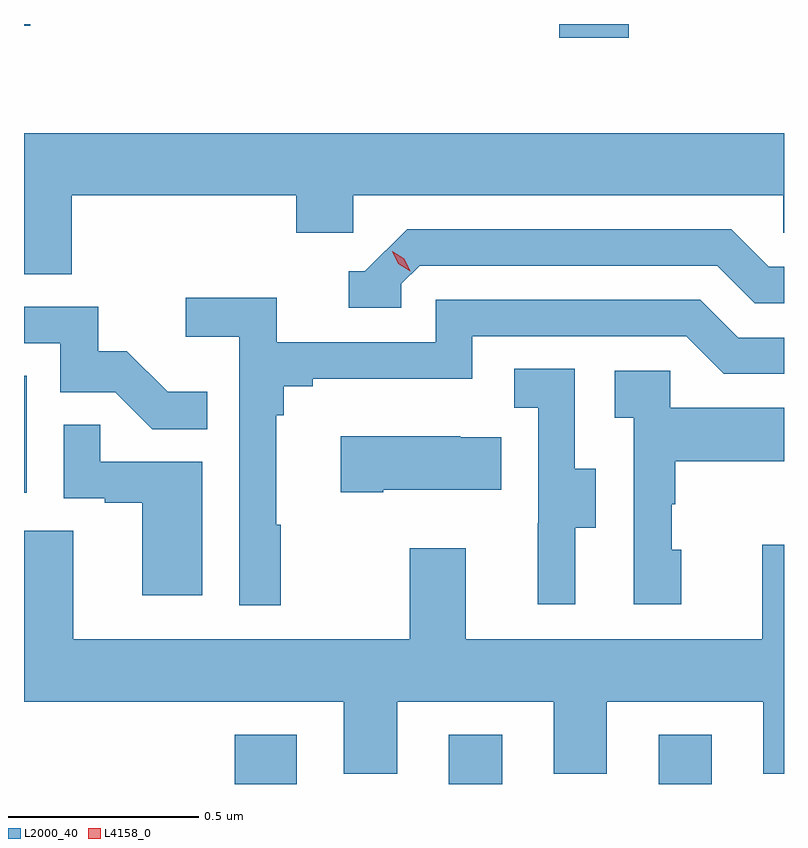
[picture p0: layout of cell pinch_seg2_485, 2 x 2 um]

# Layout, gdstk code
import gdstk
lib = gdstk.Library(unit=1e-6, precision=1e-09)
def R(c, l, rs):  # rectangles x0, y0, x1, y1
    for r in rs: c.add(gdstk.rectangle(r[:2], r[2:], *l))
def P(c, l, *ps):  # polygons
    for p in ps: c.add(gdstk.Polygon(p, *l))
L2000_40 = (2000, 40)
L4158_0 = (4158, 0)

pinch_seg2_485 = lib.new_cell('pinch_seg2_485')
R(pinch_seg2_485, L2000_40, [(921.497,590.143,921.661,590.272), (922.061,590.143,922.201,590.272), (922.613,590.143,922.753,590.272), (920.943,590.91,920.95,591.217), (922.352,592.107,922.535,592.143), (920.943,592.139,920.959,592.143)])
P(pinch_seg2_485, L2000_40, [(921.068,591.692),(921.659,591.692),(921.659,591.594),(921.81,591.594),(921.81,591.692),(922.941,591.692),(922.941,591.594),(922.943,591.594),(922.943,591.856),(920.943,591.856),(920.943,591.484),(921.068,591.484)],
  [(921.936,591.459),(921.984,591.507),(922.767,591.507),(922.866,591.408),(922.943,591.408),(922.943,591.504),(922.903,591.504),(922.804,591.603),(921.951,591.603),(921.84,591.492),(921.797,591.492),(921.797,591.396),(921.936,591.396)],
  [(921.619,590.825),(921.607,590.825),(921.607,591.113),(921.626,591.113),(921.626,591.19),(921.703,591.19),(921.703,591.209),(922.122,591.209),(922.122,591.321),(922.686,591.321),(922.785,591.222),(922.943,591.222),(922.943,591.318),(922.822,591.318),(922.723,591.417),(922.026,591.417),(922.026,591.306),(921.608,591.306),(921.608,591.422),(921.369,591.422),(921.369,591.32),(921.51,591.32),(921.51,590.613),(921.619,590.613)],
  [(921.425,591.175),(921.321,591.175),(921.214,591.282),(921.138,591.282),(921.138,591.399),(920.943,591.399),(920.943,591.303),(921.039,591.303),(921.039,591.174),(921.183,591.174),(921.281,591.076),(921.425,591.076)],
  [(922.393,590.818),(922.447,590.818),(922.447,590.973),(922.392,590.973),(922.392,591.236),(922.233,591.236),(922.233,591.133),(922.296,591.133),(922.296,590.829),(922.295,590.829),(922.295,590.616),(922.393,590.616)],
  [(922.672,590.76),(922.647,590.76),(922.647,590.879),(922.657,590.879),(922.657,590.993),(922.943,590.993),(922.943,591.133),(922.644,591.133),(922.644,591.231),(922.497,591.231),(922.497,591.107),(922.548,591.107),(922.548,590.616),(922.672,590.616)],
  [(921.412,590.991),(921.143,590.991),(921.143,591.089),(921.048,591.089),(921.048,590.895),(921.155,590.895),(921.155,590.883),(921.254,590.883),(921.254,590.64),(921.412,590.64)],
  [(921.889,590.918),(922.199,590.918),(922.199,591.055),(922.091,591.055),(922.091,591.058),(921.777,591.058),(921.777,590.911),(921.889,590.911)],
  [(921.925,590.36),(922.337,590.36),(922.337,590.17),(922.477,590.17),(922.477,590.36),(922.889,590.36),(922.889,590.17),(922.943,590.17),(922.943,590.773),(922.886,590.773),(922.886,590.524),(922.105,590.524),(922.105,590.764),(921.958,590.764),(921.958,590.524),(921.073,590.524),(921.073,590.81),(920.943,590.81),(920.943,590.36),(921.785,590.36),(921.785,590.17),(921.925,590.17)])
P(pinch_seg2_485, L4158_0, [(921.959,591.492),(921.928,591.512),(921.912,591.545),(921.912,591.545),(921.912,591.545),(921.943,591.525),(921.96,591.493),(921.96,591.492)])

lib.write_gds('pinch_seg2_485.gds')
